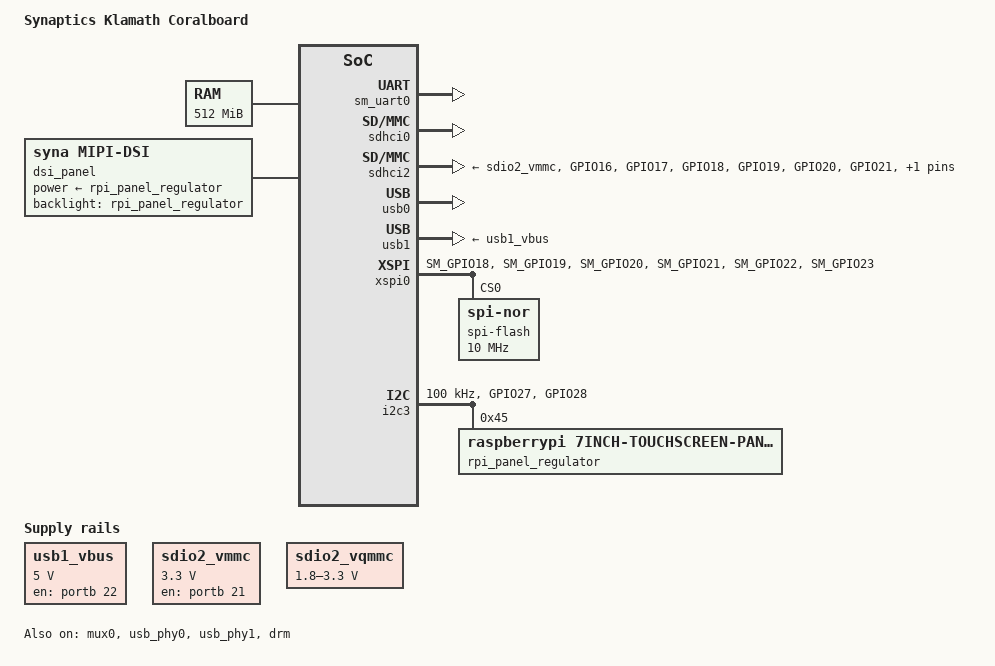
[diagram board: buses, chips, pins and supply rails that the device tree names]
// SPDX-License-Identifier: GPL-2.0+
/*
 * Copyright (C) 2016~2026 Synaptics Incorporated. All rights reserved.
 *
 * This program is free software; you can redistribute it and/or modify
 * it under the terms of the GNU General Public License version 2 or
 * later as published by the Free Software Foundation.
 *
 * INFORMATION CONTAINED IN THIS DOCUMENT IS PROVIDED "AS-IS," AND
 * SYNAPTICS EXPRESSLY DISCLAIMS ALL EXPRESS AND IMPLIED WARRANTIES,
 * INCLUDING ANY IMPLIED WARRANTIES OF MERCHANTABILITY AND FITNESS FOR
 * A PARTICULAR PURPOSE, AND ANY WARRANTIES OF NON-INFRINGEMENT OF ANY
 * INTELLECTUAL PROPERTY RIGHTS. IN NO EVENT SHALL SYNAPTICS BE LIABLE
 * FOR ANY DIRECT, INDIRECT, INCIDENTAL, SPECIAL, PUNITIVE, OR
 * CONSEQUENTIAL DAMAGES ARISING OUT OF OR IN CONNECTION WITH THE USE
 * OF THE INFORMATION CONTAINED IN THIS DOCUMENT, HOWEVER CAUSED AND
 * BASED ON ANY THEORY OF LIABILITY, WHETHER IN AN ACTION OF CONTRACT,
 * NEGLIGENCE OR OTHER TORTIOUS ACTION, AND EVEN IF SYNAPTICS WAS
 * ADVISED OF THE POSSIBILITY OF SUCH DAMAGE. IF A TRIBUNAL OF
 * COMPETENT JURISDICTION DOES NOT PERMIT THE DISCLAIMER OF DIRECT
 * DAMAGES OR ANY OTHER DAMAGES, SYNAPTICS' TOTAL CUMULATIVE LIABILITY
 * TO ANY PARTY SHALL NOT EXCEED ONE HUNDRED U.S. DOLLARS.
 */

/dts-v1/;

#include "klamath.dtsi"
#include <dt-bindings/gpio/gpio.h>

/ {
	model = "Synaptics Klamath Coralboard";
	compatible = "Synaptics,klamath", "Synaptics,asserial";

	memory {
		device_type = "memory";
		reg = <0 0 0 0x20000000>;
	};

	chosen {
		stdout-path = &sm_uart0;
	};

	regulators {
		compatible = "simple-bus";
		#address-cells = <1>;
		#size-cells = <0>;

		usb1_vbus: usb1-vbus {
			compatible = "regulator-fixed";
			regulator-name = "usb1_vbus";
			regulator-min-microvolt = <5000000>;
			regulator-max-microvolt = <5000000>;
			enable-active-high;
			gpio = <&portb 22 GPIO_ACTIVE_HIGH>;
		};

		sdio2_vmmc: sdio2-vmmc {
			compatible = "regulator-fixed";
			pinctrl-names = "default";
			pinctrl-0 = <&sdio2_vmmc_pmux>;
			regulator-min-microvolt = <3300000>;
			regulator-max-microvolt = <3300000>;
			regulator-name = "vmmc_sdio";
			enable-active-high;
			gpio = <&portb 21 GPIO_ACTIVE_HIGH>;
		};

		sdio2_vqmmc: sdio2-vqmmc {
			compatible = "regulator-gpio";
			pinctrl-names = "default";
			pinctrl-0 = <&sdio2_vqmmc_pmux>;
			regulator-min-microvolt = <1800000>;
			regulator-max-microvolt = <3300000>;
			regulator-name = "vqmmc_sdio";
			regulator-type = "voltage";
			states = <1800000 0x0 3300000 0x1>;
			gpios = <&portb 23 GPIO_ACTIVE_HIGH>;
		};
	};
};

&pinctrl {
	sdio2_pmux: sdio2-pmux {
		groups = "GPIO16", "GPIO17", "GPIO18", "GPIO19",
				 "GPIO20", "GPIO21", "GPIO22";
		function = "sdio2";
	};

	sdio2_vmmc_pmux: sdio2-vmmc-pmux {
		groups = "GPIO53";
		function = "gpio";
	};

	sdio2_vqmmc_pmux: sdio2-vqmmc-pmux {
		groups = "GPIO55";
		function = "gpio";
	};

	i2c3_pmux: i2c3-pmux {
		groups = "GPIO27", "GPIO28";
		function = "tw3";
	};
};

&sysmgr_pinctrl {
	xspi0_pmux: xspi0-pmux {
		groups = "SM_GPIO18", "SM_GPIO19", "SM_GPIO20", "SM_GPIO21",
				 "SM_GPIO22", "SM_GPIO23";
		function = "xspi";
	};
};

&sm_uart0 {
	status = "okay";
};

&sdhci0 {
	status = "okay";
	pad_sn = <10>;
	pad_sp = <10>;
	mmc-ddr-1_8v;
	mmc-hs200-1_8v;
	mmc-hs400-1_8v;
	fixed-voltage;
};

&mux0 {
	status = "okay";
};

&sdhci2 {
	status="okay";
	pinctrl-0 = <&sdio2_pmux>;
	pinctrl-names = "default";
	sdhci-sdio;
	sd-uhs-sdr50;
	fixed-voltage;
	skip-phy;
	vmmc-supply = <&sdio2_vmmc>;
	vqmmc-supply = <&sdio2_vqmmc>;
	mux-controls = <&mux0 0>;
	mux-control-names = "mux-0";
	mux-0-value = <3>;
};

&usb_phy0 {
	status = "okay";
};

&usb0 {
	compatible = "snps,dwc2-udc";
	status = "okay";
};

&usb_phy1 {
	status = "okay";
};

&usb1 {
	compatible = "snps,dwc2-host";
	status = "okay";
	vbus-supply = <&usb1_vbus>;
};

&xspi0 {
	status = "okay";
	pinctrl-0 = <&xspi0_pmux>;
	pinctrl-names = "default";

	spi-flash@0 {
		#address-cells = <1>;
		#size-cells = <1>;
		compatible = "jedec,spi-nor";
		reg = <0>;
		spi-max-frequency = <10000000>;
		spi-tx-bus-width = <4>;
		spi-rx-bus-width = <4>;
	};
};

&i2c3 {
	status = "okay";
	pinctrl-names = "default";
	pinctrl-0 = <&i2c3_pmux>;
	clock-frequency = <100000>;

	rpi_panel_regulator: rpi_panel_regulator@45 {
		compatible = "raspberrypi,7inch-touchscreen-panel-regulator";
		reg = <0x45>;
		gpio-controller;
		#gpio-cells = <2>;
	};
};

&drm {
	status = "okay";
	irqno = <69>;
	disp-mode = <2>;

	dsi_panel {
		compatible = "syna,mipi-dsi";
		status= "okay";

		power-supply = <&rpi_panel_regulator>;
		backlight = <&rpi_panel_regulator>;
		compatible_panel = "raspberrypi,7inch-touchscreen-panel";

		NO_OF_RESID =  <1>;
		DSI_RES =  <102>;

		ACTIVE_WIDTH = <800>;
		HFP = <70>;
		HSYNCWIDTH = <20>;
		HBP = <26>;
		ACTIVE_HEIGHT = <480>;
		VFP = <7>;
		VSYNCWIDTH = <2>;
		VBP = <21>;
		TYPE = <1>;
		SCAN = <0>;
		FRAME_RATE = <9>;
		FLAG_3D = <0>;
		FREQ = <28030>;
		PTS_PER_4 = <6000>;

		bits_per_pixel = <24>;
		busformat = <0>;

		HTOTAL = <916>;
		Lanes = /bits/ 8 <1>;
		Vid_mode = /bits/ 8 <2>;
		virtual_chan = /bits/ 8 <0>;
		Clk_Lane_Polarity = /bits/ 8 <0>;
		Data_Lane_Polarity = /bits/ 8 <0>;
		Recv_ack = /bits/ 8 <0>;
		Loosely_18 = /bits/ 8 <0>;
		H_polarity = /bits/ 8 <1>;
		V_Polarity = /bits/ 8 <1>;
		Data_Polarity = /bits/ 8 <1>;
		Eotp_tx = /bits/ 8 <1>;
		Eotp_rx = /bits/ 8 <0>;
		non-Continuous_clk = /bits/ 8 <0>;
		dpi_lp_cmd = /bits/ 8 <1>;
		Color_coding = /bits/ 8 <5>;
		Chunks = <0>;
		Null_Pkt = <0>;
		Byte_clk = <84090>;
	};
};
